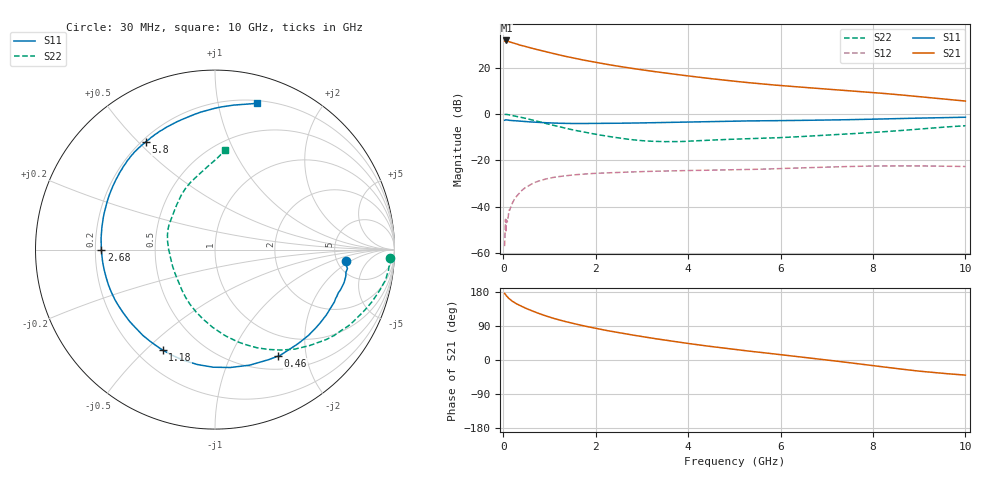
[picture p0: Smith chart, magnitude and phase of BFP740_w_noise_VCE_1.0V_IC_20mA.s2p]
! Infineon Technologies  Discrete & RF Semiconductors
! BFP740
! VCE =  1.0 V,  IC =  20 mA
! Common Emitter S-Parameters:  Jan 2016
# GHz  S  MA  R  50
!  f  S11  S21  S12  S22
! GHz  MAG  ANG  MAG  ANG  MAG  ANG  MAG  ANG
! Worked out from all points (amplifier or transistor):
!   229 points, 30 MHz to 10 GHz, reference 50 ohm
!   highest |S21| = 31.7 dB at 70 MHz (marker M1)
!   |S21| within 3 dB of that: start of sweep to 555.1 MHz
!   unconditionally stable (mu >= 1): 5.528 GHz to end of sweep
!   at 280 MHz: K = 0.21, MSG = 33.0 dB, |S12| = -35.8 dB
!   at 1.78 GHz: K = 0.47, MSG = 24.5 dB, |S12| = -25.9 dB
!   at 10 GHz: K = 1.11, MAG = 12.1 dB, |S12| = -22.7 dB
!   lowest NFmin = 0.68 dB at 450 MHz
!   S11 on the Smith chart (normalised r, x): 30 MHz: 5.96, -1.66; 460 MHz: 0.68, -1.54; 1.18 GHz: 0.30, -0.56; 2.68 GHz: 0.22, -0.00; 5.8 GHz: 0.22, +0.53; 10 GHz: 0.23, +1.31
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0.03  0.7309 -5.1  37.11 175.6  0.0014 93.9  0.9769 -2.6
0.05  0.7456 -8.1  38.12 172.9  0.0053 83.0  0.9803 -4.8
0.07  0.7438 -11.6  38.47 169.3  0.0051 80.7  0.9736 -6.8
0.12  0.7277 -19.5  36.29 162.7  0.0077 82.3  0.9566 -11.6
0.2  0.7195 -30.4  34.3 154.8  0.012 76.9  0.922 -18.3
0.3  0.7069 -42.4  32.09 147.5  0.0172 69.8  0.8781 -25.7
0.46  0.6897 -59.3  28.91 138.2  0.0249 62.3  0.813 -36.5
0.6  0.6722 -73.3  26.58 130.8  0.0302 56.2  0.7509 -45.4
0.8  0.6553 -90.9  23.58 121.4  0.0365 48.6  0.6704 -56.6
1  0.6414 -106.1  21.05 113.3  0.041 42.0  0.5952 -66.8
1.18  0.6306 -117.6  19.09 106.9  0.0441 37.4  0.5372 -74.9
1.42  0.6235 -131.1  16.86 99.2  0.047 32.3  0.4732 -84.7
1.7  0.6211 -144.6  14.78 91.3  0.05 27.9  0.4126 -95.4
2.12  0.6255 -161.4  12.34 80.7  0.0528 22.3  0.3469 -111.1
2.68  0.633 -179.8  9.982 68.4  0.0554 17.0  0.2861 -131.1
3.4  0.6504 161.4  7.887 54.3  0.0583 11.7  0.2537 -158.9
4.3  0.679 142.6  6.075 38.7  0.0606 6.6  0.2661 171.7
5.1  0.702 130.7  4.96 26.6  0.0627 3.2  0.2876 154.5
5.8  0.7134 122.6  4.258 16.9  0.0652 0.7  0.3021 141.9
6.8  0.7334 111.6  3.556 3.0  0.0703 -4.3  0.3385 126.8
8.4  0.7869 90.2  2.678 -20.9  0.0756 -15.5  0.4233 103.2
10  0.848 73.8  1.894 -39.9  0.0734 -24.4  0.556 84.5
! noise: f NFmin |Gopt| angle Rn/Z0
0.45  0.68  0.07  3  0.22
0.9  0.68  0.08  19  0.21
1.5  0.71  0.08  38  0.21
1.9  0.73  0.08  49  0.2
2.4  0.76  0.08  60  0.19
3.5  0.86  0.08  134  0.18
5.5  1.03  0.18  -118  0.16
10  1.39  0.51  -67  0.23
